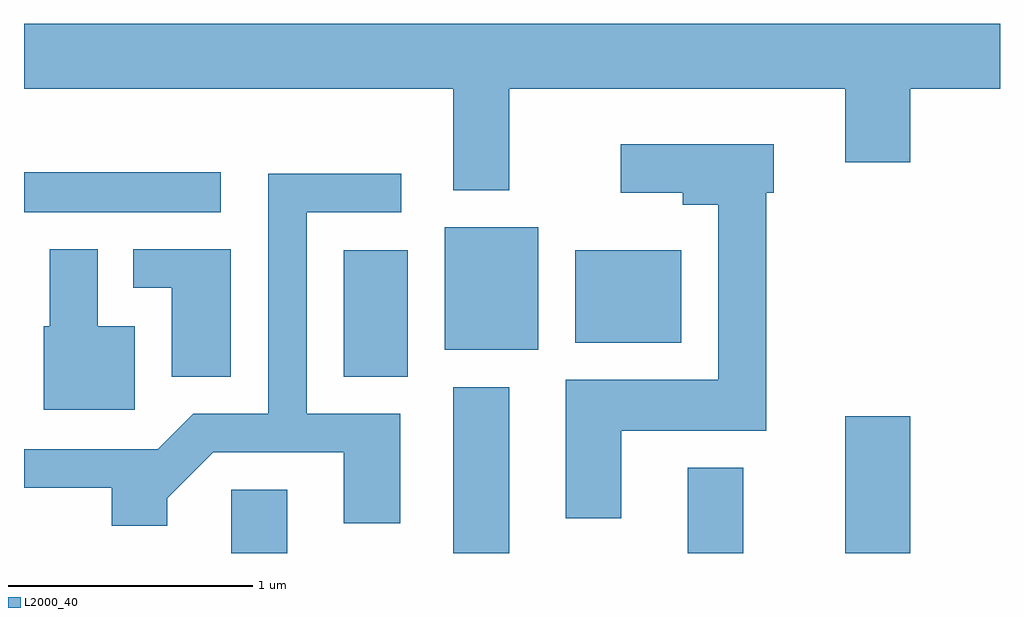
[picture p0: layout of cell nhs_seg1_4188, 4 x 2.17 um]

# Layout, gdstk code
import gdstk
lib = gdstk.Library(unit=1e-6, precision=1e-09)
def R(c, l, rs):  # rectangles x0, y0, x1, y1
    for r in rs: c.add(gdstk.rectangle(r[:2], r[2:], *l))
def P(c, l, *ps):  # polygons
    for p in ps: c.add(gdstk.Polygon(p, *l))
L2000_40 = (2000, 40)

nhs_seg1_4188 = lib.new_cell('nhs_seg1_4188')
R(nhs_seg1_4188, L2000_40, [(312.461,857.712,312.689,857.974), (313.371,857.712,313.599,858.394), (314.331,857.712,314.559,858.064), (314.976,857.712,315.244,858.274), (312.921,858.436,313.184,858.954), (313.336,858.546,313.719,859.049), (313.871,858.576,314.304,858.954), (311.611,859.111,312.418,859.274)])
P(nhs_seg1_4188, L2000_40, [(313.599,859.616),(314.976,859.616),(314.976,859.316),(315.244,859.316),(315.244,859.616),(315.611,859.616),(315.611,859.884),(311.611,859.884),(311.611,859.616),(313.371,859.616),(313.371,859.201),(313.599,859.201)],
  [(314.059,858.216),(314.654,858.216),(314.654,859.191),(314.684,859.191),(314.684,859.389),(314.056,859.389),(314.056,859.191),(314.311,859.191),(314.311,859.141),(314.456,859.141),(314.456,858.424),(313.831,858.424),(313.831,857.856),(314.059,857.856)],
  [(312.199,857.939),(312.387,858.126),(312.921,858.126),(312.921,857.836),(313.154,857.836),(313.154,858.284),(312.769,858.284),(312.769,859.111),(313.158,859.111),(313.158,859.269),(312.611,859.269),(312.611,858.284),(312.304,858.284),(312.159,858.139),(311.611,858.139),(311.611,857.981),(311.971,857.981),(311.971,857.826),(312.199,857.826)],
  [(312.064,858.644),(311.914,858.644),(311.914,858.959),(311.716,858.959),(311.716,858.644),(311.691,858.644),(311.691,858.301),(312.064,858.301)],
  [(312.459,858.959),(312.058,858.959),(312.058,858.801),(312.216,858.801),(312.216,858.436),(312.459,858.436)])

lib.write_gds('nhs_seg1_4188.gds')
